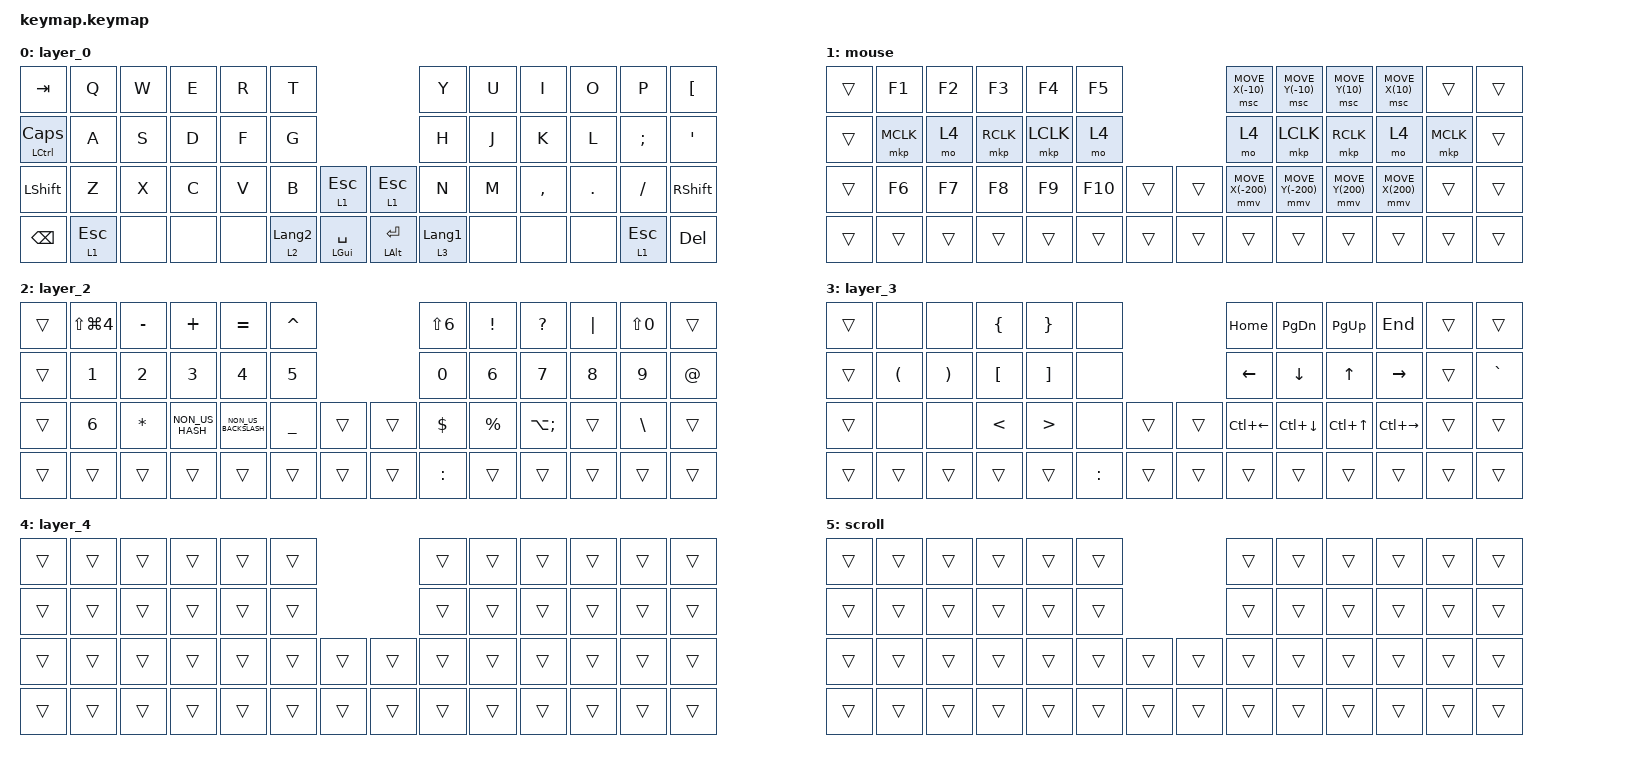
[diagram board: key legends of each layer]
#include <behaviors.dtsi>
#include <dt-bindings/zmk/bt.h>
#include <dt-bindings/zmk/keys.h>
#include <dt-bindings/zmk/pointing.h>

/ {
    combos {
        compatible = "zmk,combos";

        bt_clear {
            bindings = <&bt BT_CLR>;
            key-positions = <16 17>;
            layers = <2>;
        };
    };

    keymap {
        compatible = "zmk,keymap";

        layer_0 {
            bindings = <
&kp TAB                    &kp Q         &kp W  &kp E  &kp R  &kp T                                                      &kp Y             &kp U  &kp I      &kp O    &kp P         &kp LEFT_BRACKET
&mt LEFT_CONTROL CAPSLOCK  &kp A         &kp S  &kp D  &kp F  &kp G                                                      &kp H             &kp J  &kp K      &kp L    &kp SEMI      &kp SQT
&kp LSHFT                  &kp Z         &kp X  &kp C  &kp V  &kp B             &lt 1 ESCAPE        &lt 1 ESCAPE         &kp N             &kp M  &kp COMMA  &kp DOT  &kp FSLH      &kp RSHFT
&kp BACKSPACE              &lt 1 ESCAPE  &none  &none  &none  &lt 2 LANGUAGE_2  &mt LEFT_GUI SPACE  &mt LEFT_ALT RETURN  &lt 3 LANGUAGE_1  &none  &none      &none    &lt 1 ESCAPE  &kp DELETE
            >;
        };

        mouse {
            bindings = <
&trans  &kp F1     &kp F2  &kp F3     &kp F4     &kp F5                   &msc MOVE_X(-10)   &msc MOVE_Y(-10)   &msc MOVE_Y(10)   &msc MOVE_X(10)   &trans     &trans
&trans  &mkp MCLK  &mo 4   &mkp RCLK  &mkp LCLK  &mo 4                    &mo 4              &mkp LCLK          &mkp RCLK         &mo 4             &mkp MCLK  &trans
&trans  &kp F6     &kp F7  &kp F8     &kp F9     &kp F10  &trans  &trans  &mmv MOVE_X(-200)  &mmv MOVE_Y(-200)  &mmv MOVE_Y(200)  &mmv MOVE_X(200)  &trans     &trans
&trans  &trans     &trans  &trans     &trans     &trans   &trans  &trans  &trans             &trans             &trans            &trans            &trans     &trans
            >;
        };

        layer_2 {
            bindings = <
&trans  &kp LS(LG(NUMBER_4))  &kp MINUS     &kp PLUS         &kp EQUAL             &kp CARET                       &kp LS(N6)    &kp EXCLAMATION  &kp QUESTION       &kp PIPE      &kp LS(N0)     &trans
&trans  &kp N1                &kp N2        &kp N3           &kp N4                &kp N5                          &kp NUMBER_0  &kp NUMBER_6     &kp NUMBER_7       &kp NUMBER_8  &kp NUMBER_9   &kp AT_SIGN
&trans  &kp N6                &kp ASTERISK  &kp NON_US_HASH  &kp NON_US_BACKSLASH  &kp UNDERSCORE  &trans  &trans  &kp DOLLAR    &kp PERCENT      &kp LA(SEMICOLON)  &trans        &kp BACKSLASH  &trans
&trans  &trans                &trans        &trans           &trans                &trans          &trans  &trans  &kp COLON     &trans           &trans             &trans        &trans         &trans
            >;
        };

        layer_3 {
            bindings = <
&trans  &none                 &none                  &kp LEFT_BRACE    &kp RIGHT_BRACE    &none                      &kp HOME            &kp PAGE_DOWN       &kp PAGE_UP       &kp END              &trans  &trans
&trans  &kp LEFT_PARENTHESIS  &kp RIGHT_PARENTHESIS  &kp LEFT_BRACKET  &kp RIGHT_BRACKET  &none                      &kp LEFT            &kp DOWN            &kp UP_ARROW      &kp RIGHT            &trans  &kp GRAVE
&trans  &none                 &none                  &kp LESS_THAN     &kp GREATER_THAN   &none      &trans  &trans  &kp LC(LEFT_ARROW)  &kp LC(DOWN_ARROW)  &kp LC(UP_ARROW)  &kp LC(RIGHT_ARROW)  &trans  &trans
&trans  &trans                &trans                 &trans            &trans             &kp COLON  &trans  &trans  &trans              &trans              &trans            &trans               &trans  &trans
            >;
        };

        layer_4 {
            bindings = <
&trans  &trans  &trans  &trans  &trans  &trans                  &trans  &trans  &trans  &trans  &trans  &trans
&trans  &trans  &trans  &trans  &trans  &trans                  &trans  &trans  &trans  &trans  &trans  &trans
&trans  &trans  &trans  &trans  &trans  &trans  &trans  &trans  &trans  &trans  &trans  &trans  &trans  &trans
&trans  &trans  &trans  &trans  &trans  &trans  &trans  &trans  &trans  &trans  &trans  &trans  &trans  &trans
            >;
        };

        scroll {
            bindings = <
&trans  &trans  &trans  &trans  &trans  &trans                  &trans  &trans  &trans  &trans  &trans  &trans
&trans  &trans  &trans  &trans  &trans  &trans                  &trans  &trans  &trans  &trans  &trans  &trans
&trans  &trans  &trans  &trans  &trans  &trans  &trans  &trans  &trans  &trans  &trans  &trans  &trans  &trans
&trans  &trans  &trans  &trans  &trans  &trans  &trans  &trans  &trans  &trans  &trans  &trans  &trans  &trans
            >;
        };
    };
};
